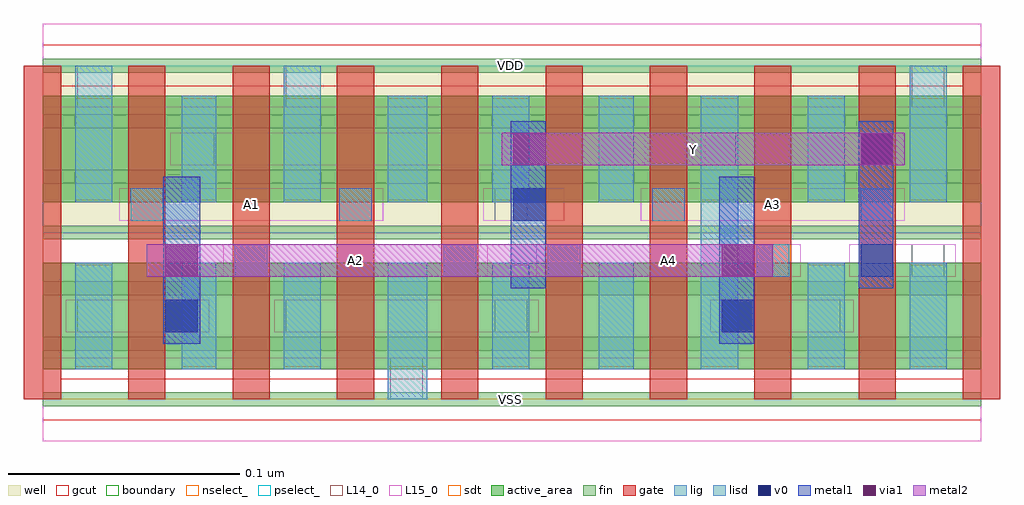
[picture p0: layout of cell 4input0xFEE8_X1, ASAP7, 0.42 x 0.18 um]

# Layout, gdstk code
import gdstk
lib = gdstk.Library(unit=1e-6, precision=1e-09)
def R(c, l, rs):  # rectangles x0, y0, x1, y1
    for r in rs: c.add(gdstk.rectangle(r[:2], r[2:], *l))
def A(c, l, x, y, w, h, nx, ny, dx, dy):  # array of equal rectangles
    R(c, l, [(x+i*dx, y+j*dy, x+i*dx+w, y+j*dy+h) for i in range(nx) for j in range(ny)])
def P(c, l, *ps):  # polygons
    for p in ps: c.add(gdstk.Polygon(p, *l))
well = (1, 0)
fin = (2, 0)
gate = (7, 0)
gcut = (10, 0)
active_area = (11, 0)
nselect_ = (12, 0)
pselect_ = (13, 0)
L14_0 = (14, 0)
L15_0 = (15, 0)
lig = (16, 0)
lisd = (17, 0)
v0 = (18, 0)
metal1 = (19, 0)
metal2 = (20, 0)
via1 = (21, 0)
sdt = (88, 0)
boundary = (100, 0)

c_4input0xfee8_x1 = lib.new_cell('4input0xFEE8_X1')
R(c_4input0xfee8_x1, well, [(0,0.072,0.405,0.144)])
A(c_4input0xfee8_x1, fin, 0, -0.003, 0.405, 0.006, 1, 7, 0, 0.024)
A(c_4input0xfee8_x1, gate, -0.008, 0, 0.016, 0.144, 10, 1, 0.045, 0)
P(c_4input0xfee8_x1, gcut, [(0,-0.009),(0,0),(-0.008,0),(-0.008,0.135),(0.008,0.135),(0.008,0.009),(0.397,0.009),(0.397,0.135),(-0.008,0.135),(-0.008,0.144),(0,0.144),(0,0.153),(0.405,0.153),(0.405,0.144),(0.413,0.144),(0.413,0),(0.405,0),(0.405,-0.009)])
R(c_4input0xfee8_x1, active_area, [(0,0.013,0.405,0.059), (0,0.085,0.405,0.131)])
R(c_4input0xfee8_x1, nselect_, [(0,0,0.405,0.072)])
R(c_4input0xfee8_x1, pselect_, [(0,0.072,0.405,0.144)])
R(c_4input0xfee8_x1, L14_0, [(0.15,0,0.164,0.018), (0.015,0.029,0.03,0.043), (0.105,0.029,0.12,0.043), (0.195,0.029,0.209,0.043), (0.33,0.029,0.344,0.043), (0.083,0.053,0.097,0.067), (0.173,0.053,0.187,0.067), (0.218,0.053,0.232,0.067), (0.308,0.053,0.322,0.067), (0.375,0.053,0.389,0.067), (0.038,0.077,0.052,0.091), (0.128,0.077,0.142,0.091), (0.195,0.077,0.209,0.091), (0.263,0.077,0.277,0.091), (0.353,0.077,0.367,0.091), (0.06,0.101,0.074,0.115), (0.24,0.101,0.254,0.115), (0.286,0.101,0.299,0.115), (0.015,0.126,0.03,0.144), (0.105,0.126,0.12,0.144), (0.375,0.126,0.389,0.144)])
R(c_4input0xfee8_x1, L15_0, [(0,-0.018,0.405,0.018), (0.01,0.029,0.072,0.043), (0.1,0.029,0.214,0.043), (0.288,0.029,0.35,0.043), (0.078,0.053,0.192,0.067), (0.213,0.053,0.327,0.067), (0.348,0.053,0.394,0.067), (0.033,0.077,0.147,0.091), (0.19,0.077,0.225,0.091), (0.258,0.077,0.372,0.091), (0.055,0.101,0.26,0.115), (0.28,0.101,0.372,0.115), (0,0.126,0.405,0.162)])
R(c_4input0xfee8_x1, lig, [(0.083,0.053,0.097,0.067), (0.173,0.053,0.187,0.067), (0.218,0.053,0.232,0.067), (0.308,0.053,0.322,0.067), (0.038,0.077,0.052,0.091), (0.128,0.077,0.142,0.091), (0.263,0.077,0.277,0.091), (0.353,0.077,0.367,0.091)])
A(c_4input0xfee8_x1, lisd, 0.014, 0.013, 0.016, 0.046, 3, 1, 0.09, 0)
R(c_4input0xfee8_x1, lisd, [(0.149,0,0.166,0.059), (0.06,0.013,0.075,0.059), (0.24,0.013,0.255,0.059), (0.284,0.013,0.3,0.131), (0.33,0.013,0.346,0.059), (0.374,0.013,0.39,0.059), (0.014,0.085,0.03,0.144), (0.06,0.085,0.075,0.131), (0.104,0.085,0.12,0.144), (0.149,0.085,0.166,0.131), (0.194,0.085,0.21,0.131), (0.24,0.085,0.255,0.131), (0.33,0.085,0.346,0.131), (0.374,0.085,0.39,0.144)])
R(c_4input0xfee8_x1, v0, [(0.053,0.029,0.067,0.043), (0.293,0.029,0.307,0.043), (0.353,0.053,0.367,0.067), (0.203,0.077,0.217,0.091), (0.353,0.101,0.367,0.115)])
R(c_4input0xfee8_x1, metal1, [(0.052,0.024,0.068,0.096), (0.292,0.024,0.307,0.096), (0.202,0.048,0.217,0.12), (0.352,0.048,0.367,0.12)])
R(c_4input0xfee8_x1, metal2, [(0.045,0.053,0.315,0.067), (0.198,0.101,0.372,0.115)])
R(c_4input0xfee8_x1, via1, [(0.053,0.053,0.067,0.067), (0.293,0.053,0.307,0.067), (0.203,0.101,0.217,0.115), (0.353,0.101,0.367,0.115)])
A(c_4input0xfee8_x1, sdt, 0.014, 0.014, 0.016, 0.044, 4, 2, 0.09, 0.072)
R(c_4input0xfee8_x1, sdt, [(0.06,0.014,0.075,0.058), (0.149,0.014,0.166,0.058), (0.24,0.014,0.255,0.058), (0.33,0.014,0.346,0.058), (0.374,0.014,0.39,0.058), (0.06,0.086,0.075,0.13), (0.149,0.086,0.166,0.13), (0.24,0.086,0.255,0.13), (0.33,0.086,0.346,0.13), (0.374,0.086,0.39,0.13)])
R(c_4input0xfee8_x1, boundary, [(0,0,0.405,0.144)])
c_4input0xfee8_x1.add(gdstk.Label('A2', (0.135,0.06), layer=15, texttype=251))
c_4input0xfee8_x1.add(gdstk.Label('VSS', (0.202,0), layer=15, texttype=251))
c_4input0xfee8_x1.add(gdstk.Label('VDD', (0.202,0.144), layer=15, texttype=251))
c_4input0xfee8_x1.add(gdstk.Label('VSS', (0.202,0), layer=15, texttype=251))
c_4input0xfee8_x1.add(gdstk.Label('VDD', (0.202,0.144), layer=15, texttype=251))
c_4input0xfee8_x1.add(gdstk.Label('A3', (0.315,0.084), layer=15, texttype=251))
c_4input0xfee8_x1.add(gdstk.Label('VSS', (0.202,0), layer=15, texttype=251))
c_4input0xfee8_x1.add(gdstk.Label('VDD', (0.202,0.144), layer=15, texttype=251))
c_4input0xfee8_x1.add(gdstk.Label('A4', (0.27,0.06), layer=15, texttype=251))
c_4input0xfee8_x1.add(gdstk.Label('VSS', (0.202,0), layer=15, texttype=251))
c_4input0xfee8_x1.add(gdstk.Label('VDD', (0.202,0.144), layer=15, texttype=251))
c_4input0xfee8_x1.add(gdstk.Label('A1', (0.09,0.084), layer=15, texttype=251))
c_4input0xfee8_x1.add(gdstk.Label('VSS', (0.202,0), layer=15, texttype=251))
c_4input0xfee8_x1.add(gdstk.Label('VDD', (0.202,0.144), layer=15, texttype=251))
c_4input0xfee8_x1.add(gdstk.Label('VSS', (0.202,0), layer=3, texttype=251))
c_4input0xfee8_x1.add(gdstk.Label('VSS', (0.202,0), layer=3, texttype=251))
c_4input0xfee8_x1.add(gdstk.Label('VSS', (0.202,0), layer=3, texttype=251))
c_4input0xfee8_x1.add(gdstk.Label('VSS', (0.202,0), layer=3, texttype=251))
c_4input0xfee8_x1.add(gdstk.Label('VSS', (0.202,0), layer=3, texttype=251))
c_4input0xfee8_x1.add(gdstk.Label('VDD', (0.202,0.144), layer=1, texttype=251))
c_4input0xfee8_x1.add(gdstk.Label('VDD', (0.202,0.144), layer=1, texttype=251))
c_4input0xfee8_x1.add(gdstk.Label('VDD', (0.202,0.144), layer=1, texttype=251))
c_4input0xfee8_x1.add(gdstk.Label('VDD', (0.202,0.144), layer=1, texttype=251))
c_4input0xfee8_x1.add(gdstk.Label('VDD', (0.202,0.144), layer=1, texttype=251))
c_4input0xfee8_x1.add(gdstk.Label('Y', (0.281,0.108), layer=20, texttype=251))

lib.write_gds('4input0xFEE8_X1.gds')
